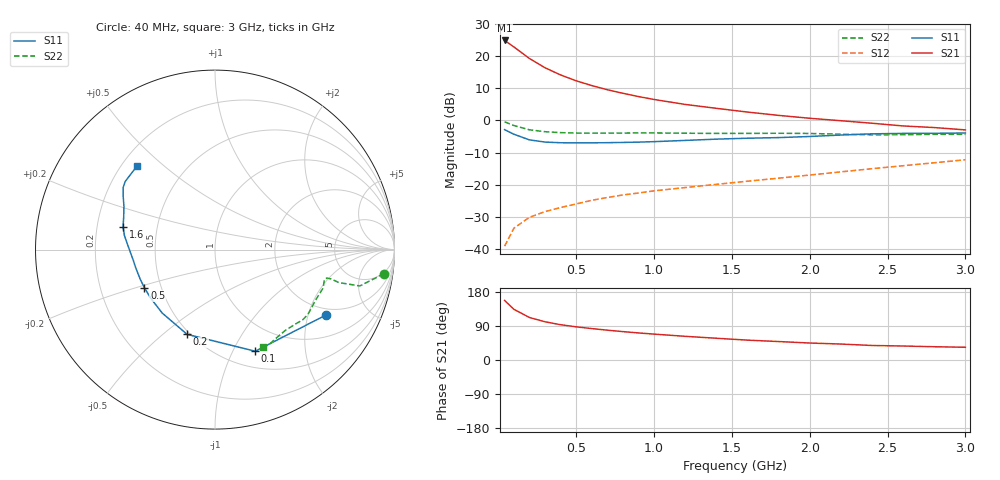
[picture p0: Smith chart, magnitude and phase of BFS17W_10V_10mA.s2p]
! Filename:  BFS17WH.S2P  Version:  4.0
! Philips part #: BFS17W  Date: Jun 1994
! Bias condition: Vce=10V, Ic=10mA
#  MHz  S  MA  R  50
! Freq  S11  S21  S12  S22  !GUM [dB]
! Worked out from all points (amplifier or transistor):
!   21 points, 40 MHz to 3 GHz, reference 50 ohm
!   highest |S21| = 24.9 dB at 40 MHz (marker M1)
!   |S21| within 3 dB of that: start of sweep to 126.9 MHz
!   unconditionally stable (mu >= 1): 436.7 MHz to 2.408 GHz
!   at 300 MHz: K = 0.84, MSG = 22.4 dB, |S12| = -28.4 dB
!   at 1 GHz: K = 1.19, MAG = 11.6 dB, |S12| = -21.9 dB
!   at 3 GHz: K = 0.94, MSG = 4.7 dB, |S12| = -12.3 dB
!   S11 on the Smith chart (normalised r, x): 40 MHz: 1.74, -2.62; 100 MHz: 0.68, -1.23; 200 MHz: 0.48, -0.61; 500 MHz: 0.40, -0.21; 1.6 GHz: 0.31, +0.11; 3 GHz: 0.26, +0.41
40  0.718 -30.5  17.6 157.1  0.011 74.3  0.951 -8.1
100  0.609 -68.4  13.93 133.7  0.021 61.6  0.832 -14.1
200  0.497 -108.2  9.202 112.1  0.031 55.9  0.714 -14.9
300  0.46 -129.7  6.605 100.8  0.038 56.5  0.667 -14.2
400  0.449 -142.9  5.102 93.1  0.044 58.5  0.645 -14.2
500  0.447 -151.5  4.137 87.5  0.05 60.8  0.636 -14.8
600  0.448 -158.1  3.489 82.9  0.057 63.0  0.633 -15.8
700  0.45 -163.4  3.005 78.7  0.063 64.4  0.634 -16.8
800  0.454 -168.1  2.644 74.9  0.069 66.0  0.636 -17.9
900  0.459 -172.4  2.353 71.4  0.074 67.2  0.638 -18.9
1000  0.467 -176.3  2.119 68.3  0.08 68.8  0.638 -20.1
1200  0.488 176.7  1.774 62.5  0.09 71.5  0.632 -23.0
1400  0.511 171.1  1.543 57.4  0.101 74.6  0.627 -26.8
1600  0.528 166.0  1.35 52.4  0.113 77.5  0.628 -31.3
1800  0.54 160.4  1.198 48.7  0.126 80.9  0.631 -35.0
2000  0.562 154.5  1.08 44.8  0.141 83.7  0.626 -38.6
2200  0.592 149.8  0.989 42.1  0.158 86.1  0.61 -43.0
2400  0.618 145.9  0.904 38.3  0.177 87.8  0.597 -48.9
2600  0.628 142.8  0.82 36.9  0.197 88.8  0.599 -54.9
2800  0.63 138.1  0.774 35.0  0.219 89.7  0.608 -59.8
3000  0.637 132.7  0.712 33.6  0.244 90.1  0.607 -63.6
